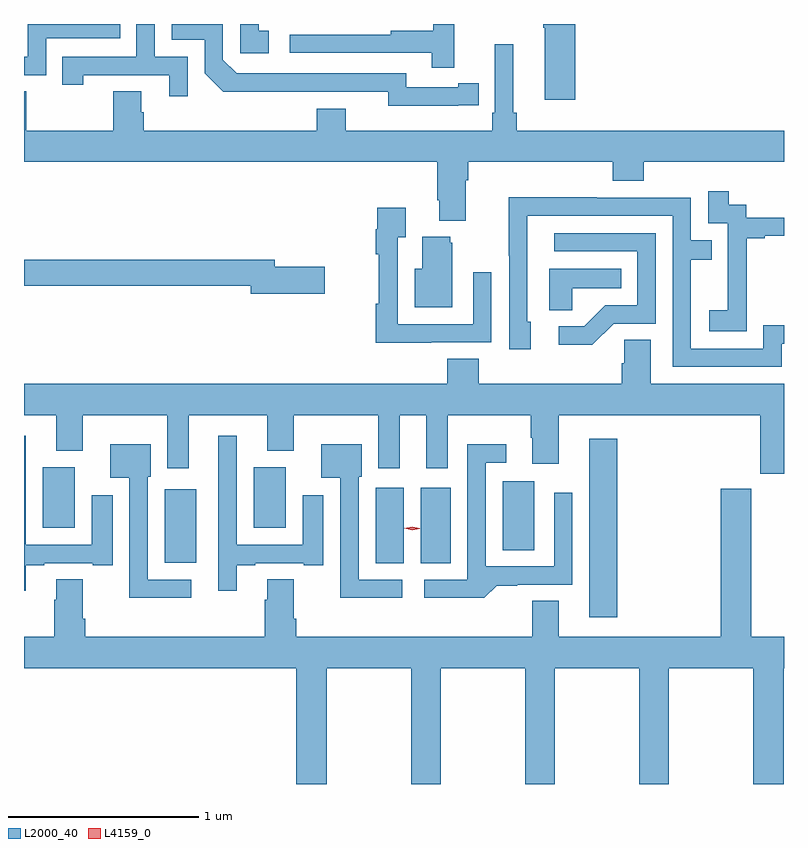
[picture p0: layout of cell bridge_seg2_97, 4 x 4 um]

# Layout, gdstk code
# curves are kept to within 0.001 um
import gdstk
lib = gdstk.Library(unit=1e-6, precision=1e-09)
def R(c, l, rs):  # rectangles x0, y0, x1, y1
    for r in rs: c.add(gdstk.rectangle(r[:2], r[2:], *l))
def P(c, l, *ps):  # polygons
    for p in ps: c.add(gdstk.Polygon(p, *l))
L2000_40 = (2000, 40)
L4159_0 = (4159, 0)

bridge_seg2_97 = lib.new_cell('bridge_seg2_97')
R(bridge_seg2_97, L2000_40, [(234.392,610.608,234.539,611.548), (233.267,610.891,233.416,611.29), (233.504,610.891,233.662,611.29), (232.157,610.895,232.324,611.281), (233.936,610.96,234.103,611.323), (231.515,611.078,231.685,611.398), (232.625,611.078,232.795,611.398)])
P(bridge_seg2_97, L2000_40, [(232.705,613.695),(232.652,613.695),(232.652,613.73),(232.554,613.73),(232.554,613.575),(232.705,613.575)],
  [(234.317,613.73),(234.151,613.73),(234.151,613.711),(234.158,613.711),(234.158,613.332),(234.317,613.332)],
  [(233.681,613.73),(233.571,613.73),(233.571,613.694),(233.347,613.694),(233.347,613.674),(232.815,613.674),(232.815,613.578),(233.563,613.578),(233.563,613.5),(233.681,613.5)],
  [(232.278,613.557),(232.104,613.557),(232.104,613.73),(232.008,613.73),(232.008,613.557),(231.619,613.557),(231.619,613.41),(231.73,613.41),(231.73,613.461),(232.181,613.461),(232.181,613.35),(232.278,613.35)],
  [(233.702,613.302),(233.81,613.302),(233.81,613.418),(233.702,613.418),(233.702,613.398),(233.43,613.398),(233.43,613.47),(232.536,613.47),(232.464,613.542),(232.464,613.73),(232.194,613.73),(232.194,613.647),(232.368,613.647),(232.368,613.47),(232.466,613.373),(233.334,613.374),(233.334,613.301)],
  [(231.534,613.656),(231.923,613.656),(231.923,613.73),(231.438,613.73),(231.438,613.557),(231.417,613.557),(231.417,613.461),(231.534,613.461)],
  [(233.743,612.908),(233.756,612.908),(233.756,613.004),(234.515,613.004),(234.515,612.905),(234.68,612.905),(234.68,613.004),(235.417,613.004),(235.417,613.168),(234.011,613.168),(234.011,613.264),(233.992,613.264),(233.992,613.624),(233.895,613.624),(233.895,613.264),(233.882,613.264),(233.882,613.168),(233.11,613.168),(233.11,613.285),(232.958,613.285),(232.958,613.168),(232.046,613.168),(232.046,613.266),(232.033,613.266),(232.033,613.376),(231.886,613.376),(231.886,613.168),(231.429,613.168),(231.429,613.376),(231.417,613.376),(231.417,613.004),(233.591,613.004),(233.591,612.802),(233.603,612.802),(233.603,612.695),(233.743,612.695)],
  [(235.221,612.319),(235.22,612.319),(235.22,612.603),(235.315,612.603),(235.315,612.615),(235.417,612.615),(235.417,612.711),(235.218,612.711),(235.218,612.78),(235.126,612.78),(235.126,612.85),(235.017,612.85),(235.017,612.681),(235.122,612.681),(235.122,612.452),(235.121,612.452),(235.121,612.223),(235.023,612.223),(235.023,612.113),(235.221,612.113)],
  [(235.405,612.048),(235.417,612.048),(235.417,612.144),(235.308,612.144),(235.308,612.021),(234.927,612.021),(234.927,612.49),(235.037,612.49),(235.037,612.591),(234.927,612.591),(234.927,612.816),(234.431,612.816),(234.431,612.818),(233.968,612.818),(233.968,612.511),(233.97,612.511),(233.97,612.018),(234.085,612.018),(234.085,612.162),(234.066,612.162),(234.066,612.72),(234.831,612.72),(234.831,611.925),(235.405,611.925)],
  [(233.561,612.054),(233.877,612.054),(233.877,612.424),(233.781,612.424),(233.781,612.15),(233.385,612.15),(233.385,612.607),(233.425,612.607),(233.425,612.763),(233.277,612.763),(233.277,612.65),(233.269,612.65),(233.269,612.518),(233.284,612.518),(233.284,612.257),(233.269,612.257),(233.269,612.053),(233.561,612.053)],
  [(234.522,612.153),(234.741,612.153),(234.741,612.63),(234.207,612.63),(234.207,612.534),(234.645,612.534),(234.645,612.249),(234.476,612.249),(234.365,612.138),(234.231,612.138),(234.231,612.041),(234.409,612.041)],
  [(233.671,612.579),(233.66,612.579),(233.66,612.61),(233.513,612.61),(233.513,612.442),(233.474,612.442),(233.474,612.239),(233.671,612.239)],
  [(232.999,612.452),(232.738,612.452),(232.738,612.488),(231.417,612.488),(231.417,612.352),(232.61,612.352),(232.61,612.31),(232.999,612.31)],
  [(234.303,612.338),(234.56,612.338),(234.56,612.442),(234.182,612.442),(234.182,612.223),(234.303,612.223)],
  [(235.417,611.836),(234.715,611.836),(234.715,612.068),(234.576,612.068),(234.576,611.945),(234.563,611.945),(234.563,611.836),(233.81,611.836),(233.81,611.969),(233.645,611.969),(233.645,611.836),(231.417,611.836),(231.417,611.672),(231.587,611.672),(231.587,611.483),(231.727,611.483),(231.727,611.672),(232.172,611.672),(232.172,611.391),(232.285,611.391),(232.285,611.672),(232.697,611.672),(232.697,611.483),(232.837,611.483),(232.837,611.672),(233.282,611.672),(233.282,611.391),(233.395,611.391),(233.395,611.672),(233.534,611.672),(233.534,611.391),(233.647,611.391),(233.647,611.672),(234.085,611.672),(234.085,611.552),(234.092,611.552),(234.092,611.415),(234.232,611.415),(234.232,611.672),(235.292,611.672),(235.292,611.363),(235.417,611.363)],
  [(232.537,610.881),(232.633,610.881),(232.633,610.893),(232.889,610.893),(232.889,610.881),(232.993,610.881),(232.993,611.251),(232.883,611.251),(232.883,610.989),(232.536,610.989),(232.536,611.563),(232.44,611.563),(232.44,610.746),(232.537,610.746)],
  [(231.427,610.881),(231.523,610.881),(231.523,610.893),(231.779,610.893),(231.779,610.881),(231.883,610.881),(231.883,611.251),(231.773,611.251),(231.773,610.989),(231.426,610.989),(231.426,611.563),(231.417,611.563),(231.417,610.746),(231.427,610.746)],
  [(233.407,610.806),(233.178,610.806),(233.178,611.346),(233.194,611.346),(233.194,611.518),(232.982,611.518),(232.982,611.342),(233.082,611.342),(233.082,610.709),(233.407,610.709)],
  [(232.297,610.806),(232.068,610.806),(232.068,611.346),(232.084,611.346),(232.084,611.518),(231.872,611.518),(231.872,611.342),(231.972,611.342),(231.972,610.709),(232.297,610.709)],
  [(233.905,610.774),(234.013,610.774),(234.013,610.779),(234.303,610.779),(234.303,611.263),(234.207,611.263),(234.207,610.875),(233.847,610.875),(233.847,611.421),(233.956,611.421),(233.956,611.518),(233.751,611.518),(233.751,610.806),(233.523,610.806),(233.523,610.709),(233.84,610.709)],
  [(233.01,610.34),(233.455,610.34),(233.455,609.73),(233.61,609.73),(233.61,610.34),(234.055,610.34),(234.055,609.73),(234.21,609.73),(234.21,610.34),(234.655,610.34),(234.655,609.73),(234.81,609.73),(234.81,610.34),(235.255,610.34),(235.255,609.73),(235.415,609.73),(235.415,610.34),(235.417,610.34),(235.417,610.504),(235.245,610.504),(235.245,611.284),(235.085,611.284),(235.085,610.504),(234.232,610.504),(234.232,610.694),(234.092,610.694),(234.092,610.504),(232.85,610.504),(232.85,610.6),(232.837,610.6),(232.837,610.808),(232.697,610.808),(232.697,610.7),(232.685,610.7),(232.685,610.504),(231.74,610.504),(231.74,610.6),(231.727,610.6),(231.727,610.808),(231.587,610.808),(231.587,610.7),(231.575,610.7),(231.575,610.504),(231.417,610.504),(231.417,610.34),(232.85,610.34),(232.85,609.73),(233.01,609.73)])
P(bridge_seg2_97, L4159_0, [(233.46,611.065),(233.419,611.075),(233.419,611.075),(233.419,611.075),(233.46,611.085),(233.5,611.075),(233.5,611.074),(233.5,611.074)])

lib.write_gds('bridge_seg2_97.gds')
